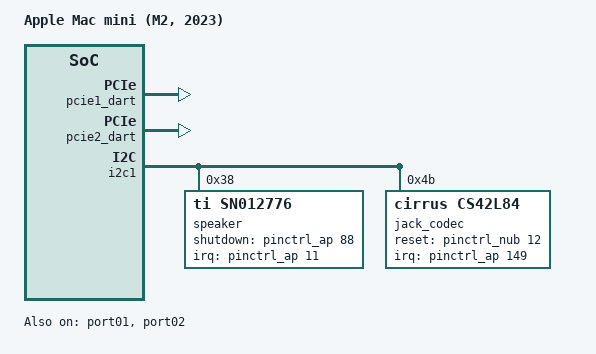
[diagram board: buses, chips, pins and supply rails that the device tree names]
// SPDX-License-Identifier: GPL-2.0+ OR MIT
/*
 * Apple Mac mini (M2, 2023)
 *
 * target-type: J473
 *
 * Copyright The Asahi Linux Contributors
 */

/dts-v1/;

#include "t8112.dtsi"
#include "t8112-jxxx.dtsi"

/ {
	compatible = "apple,j473", "apple,t8112", "apple,arm-platform";
	model = "Apple Mac mini (M2, 2023)";
	chassis-type = "desktop";

	aliases {
		ethernet0 = &ethernet0;
	};
};

/*
 * Keep the power-domains used for the HDMI port on.
 */
&framebuffer0 {
	power-domains = <&ps_dispext_cpu0>, <&ps_dptx_ext_phy>;
};

/*
 * The M2 Mac mini uses dispext for the HDMI output so it's not necessary to
 * keep disp0 power-domains always-on.
 */
&ps_disp0_sys {
	/delete-property/ apple,always-on;
};

&ps_disp0_fe {
	/delete-property/ apple,always-on;
};

/*
 * Force the bus number assignments so that we can declare some of the
 * on-board devices and properties that are populated by the bootloader
 * (such as MAC addresses).
 */
&port00 {
	bus-range = <1 1>;
};

&port01 {
	bus-range = <2 2>;
	status = "okay";
};

&port02 {
	bus-range = <3 3>;
	status = "okay";
	ethernet0: ethernet@0,0 {
		reg = <0x30000 0x0 0x0 0x0 0x0>;
		/* To be filled by the loader */
		local-mac-address = [00 10 18 00 00 00];
	};
};

&pcie1_dart {
	status = "okay";
};

&pcie2_dart {
	status = "okay";
};

/*
 * Provide labels for the USB type C ports.
 */

&typec0 {
	label = "USB-C Back-left";
};

&typec1 {
	label = "USB-C Back-right";
};

/* Audio codecs */
&i2c1 {
	status = "okay";

	speaker: codec@38 {
		compatible = "ti,sn012776";
		reg = <0x38>;
		interrupts-extended = <&pinctrl_ap 11 IRQ_TYPE_LEVEL_LOW>;
		shutdown-gpios = <&pinctrl_ap 88 GPIO_ACTIVE_HIGH>;
		#sound-dai-cells = <0>;
		ti,imon-slot-no = <0>;
		ti,vmon-slot-no = <2>;
	};

	jack_codec: codec@4b {
		compatible = "cirrus,cs42l84";
		reg = <0x4b>;
		interrupts-extended = <&pinctrl_ap 149 IRQ_TYPE_LEVEL_LOW>;
		reset-gpios = <&pinctrl_nub 12 GPIO_ACTIVE_HIGH>;
		#sound-dai-cells = <0>;
		sound-name-prefix = "Jack";
	};
};

/ {
	sound: sound {
		compatible = "apple,j473-macaudio";
		model = "Mac mini J473";

		#address-cells = <1>;
		#size-cells = <0>;

		dai-link@0 {
			reg = <0>;

			link-name = "Speakers";

			codec {
				sound-dai = <&speaker>;
			};

			cpu {
				sound-dai = <&mca 0>;
			};
		};

		dai-link@1 {
			reg = <1>;

			link-name = "Headphone Jack";

			codec {
				sound-dai = <&jack_codec>;
			};

			cpu {
				sound-dai = <&mca 2>;
			};
		};
	};
};

#include "hwmon-mini.dtsi"
